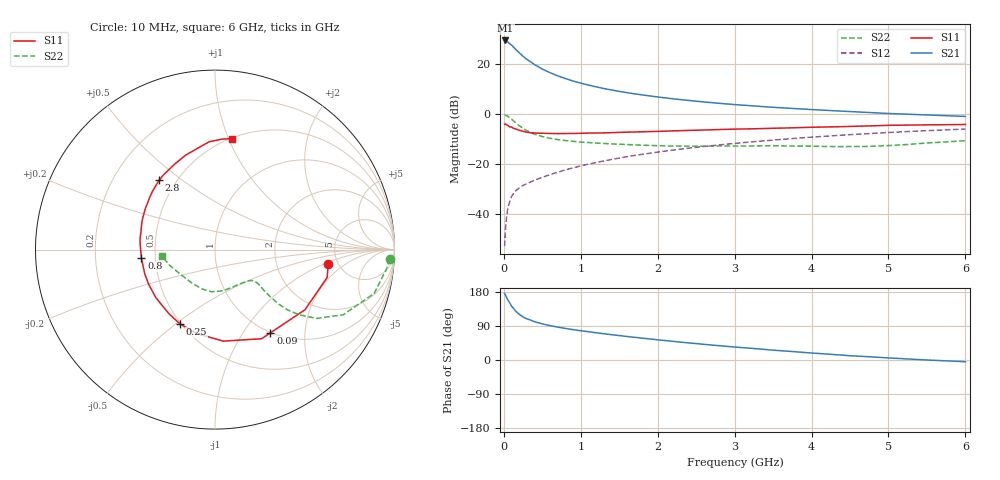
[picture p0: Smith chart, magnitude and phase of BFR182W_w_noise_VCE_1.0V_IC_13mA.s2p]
! Infineon Technologies  Discrete & RF Semiconductors
! BFR182W
! VCE =  1.0 V,  IC =  13 mA
! Common Emitter S-Parameters:  Jan 2017
# GHz  S  MA  R  50
!  f  S11  S21  S12  S22
! GHz  MAG  ANG  MAG  ANG  MAG  ANG  MAG  ANG
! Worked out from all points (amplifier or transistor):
!   77 points, 10 MHz to 6 GHz, reference 50 ohm
!   highest |S21| = 29.6 dB at 20 MHz (marker M1)
!   |S21| within 3 dB of that: start of sweep to 136.4 MHz
!   unconditionally stable (mu >= 1): 718.3 MHz to 2.79 GHz
!   at 130 MHz: K = 0.37, MSG = 29.1 dB, |S12| = -31.5 dB
!   at 2.2 GHz: K = 1.04, MAG = 9.0 dB, |S12| = -14.3 dB
!   at 6 GHz: K = 0.91, MSG = 2.5 dB, |S12| = -5.9 dB
!   lowest NFmin = 1.17 dB at 450 MHz
!   S11 on the Smith chart (normalised r, x): 10 MHz: 4.19, -1.10; 90 MHz: 0.99, -1.34; 250 MHz: 0.49, -0.52; 800 MHz: 0.42, -0.05; 2.8 GHz: 0.40, +0.41; 6 GHz: 0.51, +1.03
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0.01  0.6359 -7.1  29.96 175.7  0.0023 80.2  0.9745 -3.1
0.02  0.6439 -13.9  30.04 171.6  0.0047 87.2  0.9619 -6.4
0.05  0.6032 -33.7  28.31 159.1  0.0126 75.3  0.9201 -15.4
0.09  0.5572 -56.4  24.91 146.0  0.0206 68.0  0.8226 -24.3
0.1  0.5605 -62.4  24.3 142.2  0.0226 67.0  0.8018 -26.9
0.15  0.5121 -84.8  20.29 129.6  0.0291 60.7  0.6839 -34.1
0.2  0.4787 -102.0  17.02 120.6  0.0335 57.7  0.5919 -37.8
0.25  0.4574 -115.4  14.52 113.6  0.0378 57.3  0.5223 -39.8
0.3  0.4397 -125.8  12.54 108.6  0.041 55.9  0.4689 -40.5
0.4  0.4244 -141.0  9.853 100.8  0.0481 58.1  0.4005 -40.4
0.5  0.4173 -152.2  8.044 95.3  0.0548 59.7  0.3585 -39.9
0.6  0.414 -160.8  6.808 90.7  0.0621 60.9  0.3311 -39.1
0.8  0.4129 -173.4  5.198 83.3  0.0775 63.8  0.2987 -38.4
0.9  0.4136 -178.7  4.633 80.2  0.085 64.5  0.2875 -38.5
1.1  0.4212 172.6  3.844 74.6  0.1006 65.3  0.2726 -39.5
1.5  0.4347 159.5  2.875 64.5  0.1331 65.2  0.2516 -44.4
2.1  0.4603 143.7  2.132 51.3  0.1839 62.7  0.2337 -57.6
2.8  0.4962 128.8  1.66 37.7  0.2441 58.0  0.2324 -76.8
3.1  0.508 123.1  1.527 32.7  0.2703 55.5  0.2327 -84.6
4.1  0.5544 105.8  1.222 17.1  0.3576 46.5  0.2285 -111.8
5.1  0.6041 91.7  1.026 4.4  0.44 36.3  0.2414 -148.2
6  0.6261 81.2  0.907 -4.6  0.5067 26.8  0.297 -172.8
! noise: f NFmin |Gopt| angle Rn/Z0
0.45  1.17  0.04  108  0.14
0.9  1.26  0.05  122  0.14
1.9  1.73  0.23  -151  0.14
2.4  2  0.22  -136  0.21
